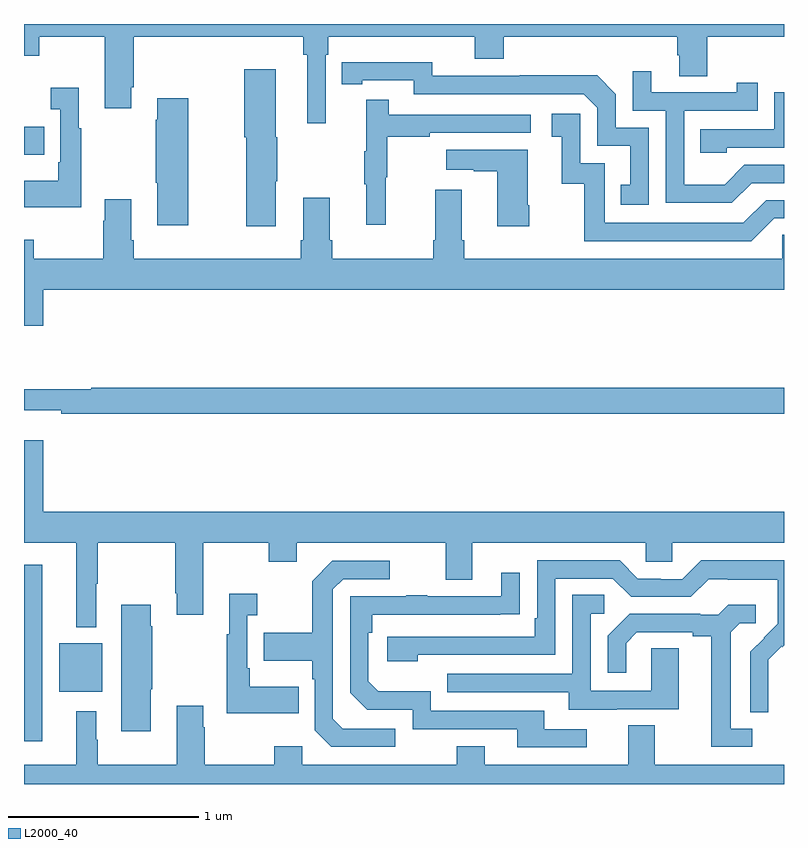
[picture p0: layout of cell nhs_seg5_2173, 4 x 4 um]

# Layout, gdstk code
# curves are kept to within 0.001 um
import gdstk
lib = gdstk.Library(unit=1e-6, precision=1e-09)
def R(c, l, rs):  # rectangles x0, y0, x1, y1
    for r in rs: c.add(gdstk.rectangle(r[:2], r[2:], *l))
def P(c, l, *ps):  # polygons
    for p in ps: c.add(gdstk.Polygon(p, *l))
L2000_40 = (2000, 40)

nhs_seg5_2173 = lib.new_cell('nhs_seg5_2173')
R(nhs_seg5_2173, L2000_40, [(237,881.025,237.097,881.953), (237.185,881.285,237.412,881.539), (237,884.111,237.107,884.259)])
P(nhs_seg5_2173, L2000_40, [(238.587,884.636),(238.601,884.636),(238.601,884.732),(239.372,884.732),(239.372,884.615),(239.525,884.615),(239.525,884.732),(240.437,884.732),(240.437,884.634),(240.449,884.634),(240.449,884.524),(240.597,884.524),(240.597,884.732),(241,884.732),(241,884.799),(237,884.799),(237,884.633),(237.081,884.633),(237.081,884.732),(237.425,884.732),(237.425,884.355),(237.565,884.355),(237.565,884.467),(237.578,884.467),(237.578,884.732),(238.471,884.732),(238.471,884.636),(238.49,884.636),(238.49,884.277),(238.587,884.277)],
  [(240.288,884.253),(240.114,884.253),(240.114,884.43),(240.016,884.528),(239.608,884.528),(239.608,884.526),(239.148,884.526),(239.148,884.599),(238.672,884.598),(238.672,884.482),(238.78,884.482),(238.78,884.502),(239.052,884.502),(239.052,884.43),(239.946,884.43),(240.018,884.358),(240.018,884.157),(240.191,884.157),(240.191,883.953),(240.142,883.953),(240.142,883.848),(240.288,883.848)],
  [(238.324,883.972),(238.332,883.972),(238.332,884.202),(238.324,884.202),(238.324,884.56),(238.16,884.56),(238.16,884.202),(238.171,884.202),(238.171,883.734),(238.324,883.734)],
  [(240.829,883.962),(241,883.962),(241,884.058),(240.792,884.058),(240.688,883.954),(240.474,883.954),(240.474,884.343),(240.863,884.343),(240.863,884.491),(240.752,884.491),(240.752,884.439),(240.301,884.439),(240.301,884.551),(240.204,884.551),(240.204,884.343),(240.378,884.343),(240.378,883.857),(240.724,883.857)],
  [(237.301,884.251),(237.289,884.251),(237.289,884.464),(237.141,884.464),(237.141,884.351),(237.192,884.351),(237.192,884.071),(237.18,884.071),(237.18,883.975),(237,883.975),(237,883.835),(237.301,883.835)],
  [(240.699,884.148),(241,884.148),(241,884.439),(240.948,884.439),(240.948,884.244),(240.559,884.244),(240.559,884.121),(240.699,884.121)],
  [(237.864,884.407),(237.701,884.407),(237.701,884.294),(237.694,884.294),(237.694,883.963),(237.701,883.963),(237.701,883.74),(237.864,883.74)],
  [(238.904,883.992),(238.912,883.992),(238.912,884.206),(239.135,884.206),(239.135,884.226),(239.668,884.226),(239.668,884.322),(238.919,884.322),(238.919,884.401),(238.802,884.401),(238.802,884.129),(238.791,884.129),(238.791,883.955),(238.802,883.955),(238.802,883.743),(238.904,883.743)],
  [(240.948,883.776),(241,883.776),(241,883.872),(240.906,883.872),(240.786,883.752),(240.057,883.752),(240.057,884.067),(239.928,884.067),(239.928,884.326),(239.778,884.326),(239.778,884.205),(239.831,884.205),(239.831,883.959),(239.949,883.959),(239.949,883.656),(240.828,883.656)],
  [(239.658,883.846),(239.65,883.846),(239.65,884.137),(239.223,884.137),(239.223,884.033),(239.366,884.033),(239.366,884.023),(239.492,884.023),(239.492,883.734),(239.658,883.734)],
  [(237.1,883.4),(241,883.4),(241,883.691),(240.99,883.691),(240.99,883.564),(239.318,883.564),(239.318,883.66),(239.305,883.66),(239.305,883.927),(239.165,883.927),(239.165,883.66),(239.153,883.66),(239.153,883.564),(238.622,883.564),(238.622,883.66),(238.609,883.66),(238.609,883.885),(238.469,883.885),(238.469,883.66),(238.457,883.66),(238.457,883.564),(237.578,883.564),(237.578,883.66),(237.565,883.66),(237.565,883.876),(237.425,883.876),(237.425,883.763),(237.418,883.763),(237.418,883.564),(237.051,883.564),(237.051,883.663),(237,883.663),(237,883.212),(237.1,883.212)],
  [(241,882.884),(237.353,882.884),(237.353,882.877),(237,882.877),(237,882.767),(237.196,882.767),(237.196,882.748),(241,882.748)],
  [(237.379,881.852),(237.389,881.852),(237.389,882.068),(237.796,882.068),(237.796,881.803),(237.803,881.803),(237.803,881.691),(237.943,881.691),(237.943,882.068),(238.288,882.068),(238.288,881.969),(238.435,881.969),(238.435,882.068),(239.219,882.068),(239.219,881.874),(239.359,881.874),(239.359,882.068),(240.273,882.068),(240.273,881.97),(240.411,881.97),(240.411,882.068),(241,882.068),(241,882.232),(237.1,882.232),(237.1,882.607),(237,882.607),(237,882.068),(237.275,882.068),(237.275,881.624),(237.379,881.624)],
  [(240.918,881.33),(240.917,881.453),(240.987,881.523),(240.99,881.52),(241,881.53),(241,881.977),(240.565,881.977),(240.465,881.877),(240.35,881.877),(240.35,881.88),(240.231,881.88),(240.135,881.976),(239.7,881.976),(239.7,881.671),(239.687,881.671),(239.687,881.574),(238.911,881.574),(238.911,881.444),(239.072,881.444),(239.072,881.478),(239.796,881.478),(239.796,881.88),(240.099,881.88),(240.195,881.784),(240.51,881.784),(240.603,881.877),(240.703,881.877),(240.703,881.873),(240.966,881.873),(240.966,881.739),(240.968,881.739),(240.968,881.642),(240.822,881.494),(240.822,881.176),(240.918,881.176)],
  [(238.954,881.091),(238.677,881.091),(238.626,881.142),(238.626,881.823),(238.68,881.877),(238.924,881.877),(238.924,881.973),(238.623,881.973),(238.518,881.867),(238.518,881.595),(238.261,881.595),(238.261,881.447),(238.518,881.447),(238.518,881.351),(238.53,881.351),(238.53,881.082),(238.617,880.995),(238.954,880.995)],
  [(239.962,881.088),(239.737,881.088),(239.737,881.184),(239.142,881.184),(239.142,881.287),(238.865,881.287),(238.812,881.34),(238.812,881.594),(238.832,881.594),(238.832,881.691),(239.609,881.692),(239.609,881.911),(239.513,881.911),(239.513,881.787),(239.123,881.787),(239.123,881.792),(239.011,881.792),(239.011,881.787),(238.716,881.787),(238.716,881.28),(238.806,881.19),(239.046,881.19),(239.046,881.088),(239.597,881.088),(239.597,880.992),(239.962,880.992)],
  [(238.445,881.311),(238.189,881.311),(238.189,881.407),(238.176,881.407),(238.176,881.687),(238.228,881.687),(238.228,881.8),(238.079,881.8),(238.079,881.587),(238.068,881.587),(238.068,881.171),(238.445,881.171)],
  [(240.121,881.193),(240.445,881.193),(240.445,881.513),(240.3,881.513),(240.3,881.289),(239.982,881.289),(239.982,881.694),(240.055,881.694),(240.055,881.795),(239.886,881.795),(239.886,881.379),(239.227,881.379),(239.227,881.283),(239.867,881.283),(239.867,881.189),(240.121,881.189)],
  [(240.832,881.091),(240.721,881.091),(240.721,881.599),(240.768,881.646),(240.85,881.646),(240.85,881.743),(240.706,881.743),(240.654,881.691),(240.56,881.691),(240.56,881.694),(240.188,881.694),(240.072,881.578),(240.072,881.385),(240.169,881.385),(240.169,881.541),(240.226,881.598),(240.521,881.598),(240.521,881.576),(240.617,881.576),(240.617,880.995),(240.832,880.995)],
  [(237.667,881.299),(237.675,881.299),(237.675,881.63),(237.667,881.63),(237.667,881.743),(237.512,881.743),(237.512,881.076),(237.667,881.076)],
  [(241,880.9),(240.319,880.9),(240.319,881.108),(240.179,881.108),(240.179,880.9),(239.425,880.9),(239.425,880.999),(239.278,880.999),(239.278,880.9),(238.464,880.9),(238.464,880.999),(238.318,880.999),(238.318,880.9),(237.951,880.9),(237.951,881.099),(237.943,881.099),(237.943,881.212),(237.803,881.212),(237.803,880.9),(237.389,880.9),(237.389,881.033),(237.379,881.033),(237.379,881.182),(237.275,881.182),(237.275,880.9),(237,880.9),(237,880.799),(241,880.799)])

lib.write_gds('nhs_seg5_2173.gds')
